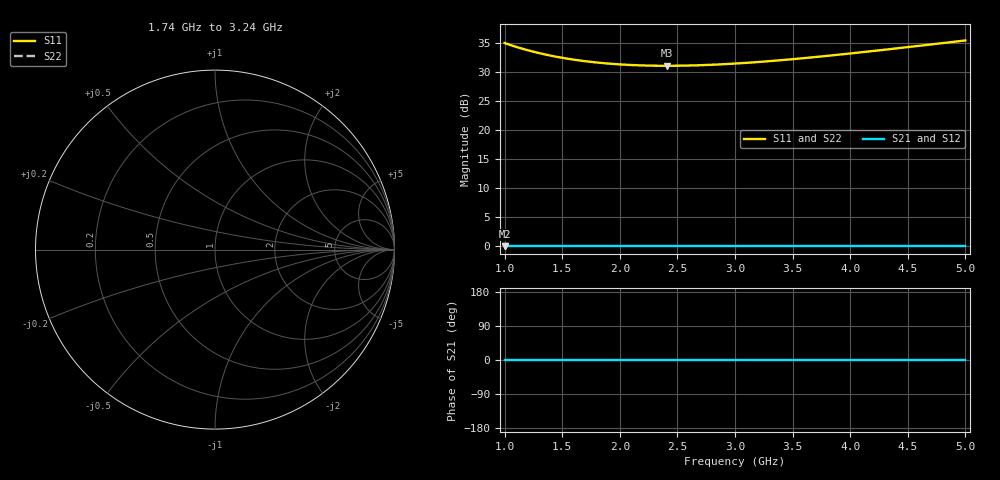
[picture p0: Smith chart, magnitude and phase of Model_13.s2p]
# GHZ S RI R 50
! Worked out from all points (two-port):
!   401 points, 1 GHz to 5 GHz, reference 50 ohm
!   highest |S21| = 0.00 dB at 1 GHz (marker M1); lowest = 0.0 dB at 1 GHz (marker M2)
!   |S21| within 3 dB of the highest: start of sweep to end of sweep
!   lowest |S11| = 31.0 dB at 2.41 GHz (marker M3)
!   |S11| at or under -10 dB: nowhere
!   |S22| runs from 31.0 to 35.4 dB; largest |S21 - S12| = 0
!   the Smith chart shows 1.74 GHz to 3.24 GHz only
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1  55.89 0  1 0  1 0  55.89 0
1.02  55 0  1 0  1 0  55 0
1.15  50.05 0  1 0  1 0  50.05 0
1.22  47.89 0  1 0  1 0  47.89 0
1.3  45.76 0  1 0  1 0  45.76 0
1.38  43.95 0  1 0  1 0  43.95 0
1.47  42.22 0  1 0  1 0  42.22 0
1.57  40.62 0  1 0  1 0  40.62 0
1.67  39.32 0  1 0  1 0  39.32 0
1.82  37.82 0  1 0  1 0  37.82 0
1.98  36.7 0  1 0  1 0  36.7 0
2.15  35.98 0  1 0  1 0  35.98 0
2.34  35.62 0  1 0  1 0  35.62 0
2.41  35.6 0  1 0  1 0  35.6 0
2.7  36.01 0  1 0  1 0  36.01 0
3  37.2 0  1 0  1 0  37.2 0
3.33  39.26 0  1 0  1 0  39.26 0
3.67  42.08 0  1 0  1 0  42.08 0
4  45.43 0  1 0  1 0  45.43 0
4.34  49.45 0  1 0  1 0  49.45 0
4.64  53.46 0  1 0  1 0  53.46 0
5  58.81 0  1 0  1 0  58.81 0
